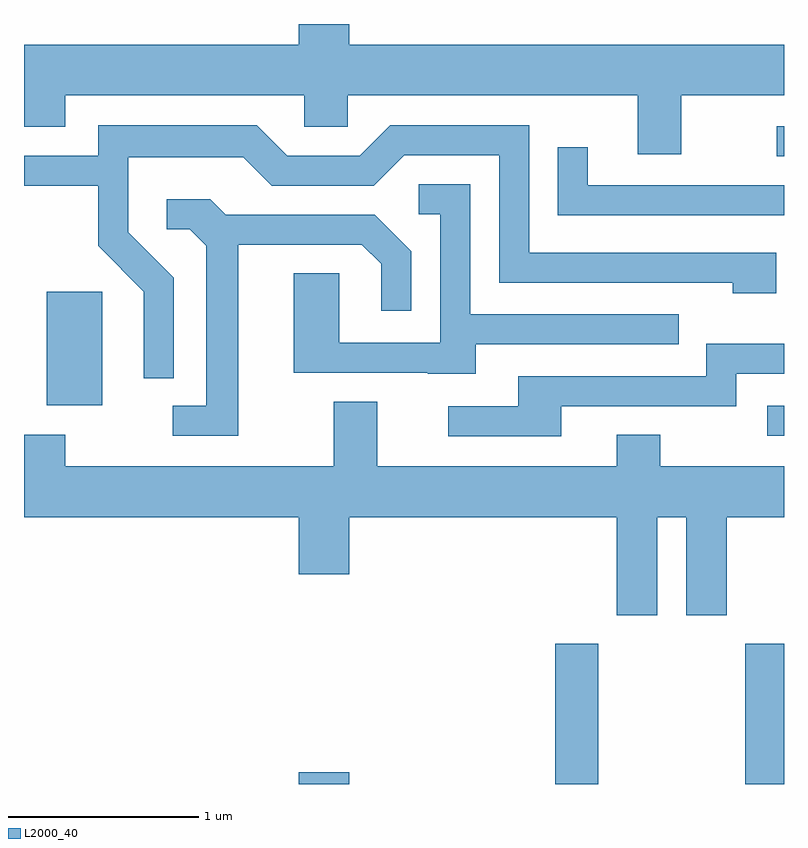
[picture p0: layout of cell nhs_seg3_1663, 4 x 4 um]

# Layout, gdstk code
import gdstk
lib = gdstk.Library(unit=1e-6, precision=1e-09)
def R(c, l, rs):  # rectangles x0, y0, x1, y1
    for r in rs: c.add(gdstk.rectangle(r[:2], r[2:], *l))
def P(c, l, *ps):  # polygons
    for p in ps: c.add(gdstk.Polygon(p, *l))
L2000_40 = (2000, 40)

nhs_seg3_1663 = lib.new_cell('nhs_seg3_1663')
R(nhs_seg3_1663, L2000_40, [(235.056,1177.892,235.324,1177.954), (236.406,1177.892,236.634,1178.629), (237.406,1177.892,237.611,1178.629), (237.523,1179.726,237.611,1179.884), (233.731,1179.886,234.024,1180.484), (237.573,1181.196,237.611,1181.354)])
P(nhs_seg3_1663, L2000_40, [(237.069,1181.516),(237.611,1181.516),(237.611,1181.784),(235.324,1181.784),(235.324,1181.892),(235.056,1181.892),(235.056,1181.784),(233.611,1181.784),(233.611,1181.351),(233.829,1181.351),(233.829,1181.516),(235.086,1181.516),(235.086,1181.351),(235.314,1181.351),(235.314,1181.516),(236.841,1181.516),(236.841,1181.206),(237.069,1181.206)],
  [(234.399,1180.557),(234.159,1180.797),(234.159,1181.191),(234.764,1181.191),(234.914,1181.041),(235.452,1181.041),(235.612,1181.201),(236.111,1181.201),(236.111,1180.531),(237.341,1180.531),(237.341,1180.476),(237.569,1180.476),(237.569,1180.689),(236.269,1180.689),(236.269,1181.359),(235.539,1181.359),(235.379,1181.199),(234.997,1181.199),(234.837,1181.359),(234.001,1181.359),(234.001,1181.199),(233.611,1181.199),(233.611,1181.041),(234.001,1181.041),(234.001,1180.724),(234.241,1180.484),(234.241,1180.028),(234.399,1180.028)],
  [(237.611,1181.044),(236.579,1181.044),(236.579,1181.243),(236.421,1181.243),(236.421,1180.886),(237.611,1180.886)],
  [(235.989,1180.206),(237.058,1180.206),(237.058,1180.364),(235.959,1180.364),(235.959,1181.049),(235.688,1181.049),(235.688,1180.891),(235.801,1180.891),(235.801,1180.214),(235.269,1180.214),(235.269,1180.579),(235.031,1180.579),(235.031,1180.056),(235.735,1180.056),(235.735,1180.051),(235.989,1180.051)],
  [(234.739,1180.731),(235.389,1180.731),(235.491,1180.629),(235.491,1180.383),(235.649,1180.383),(235.649,1180.697),(235.457,1180.889),(234.672,1180.889),(234.592,1180.969),(234.363,1180.969),(234.363,1180.811),(234.484,1180.811),(234.571,1180.724),(234.571,1179.884),(234.393,1179.884),(234.393,1179.726),(234.739,1179.726)],
  [(236.439,1179.881),(237.359,1179.881),(237.359,1180.051),(237.611,1180.051),(237.611,1180.209),(237.201,1180.209),(237.201,1180.039),(236.211,1180.039),(236.211,1179.879),(235.843,1179.879),(235.843,1179.721),(236.439,1179.721)],
  [(236.944,1179.296),(237.096,1179.296),(237.096,1178.781),(237.309,1178.781),(237.309,1179.296),(237.611,1179.296),(237.611,1179.564),(236.959,1179.564),(236.959,1179.729),(236.731,1179.729),(236.731,1179.564),(235.469,1179.564),(235.469,1179.904),(235.241,1179.904),(235.241,1179.564),(233.829,1179.564),(233.829,1179.729),(233.611,1179.729),(233.611,1179.296),(235.056,1179.296),(235.056,1178.996),(235.324,1178.996),(235.324,1179.296),(236.731,1179.296),(236.731,1178.781),(236.944,1178.781)])

lib.write_gds('nhs_seg3_1663.gds')
